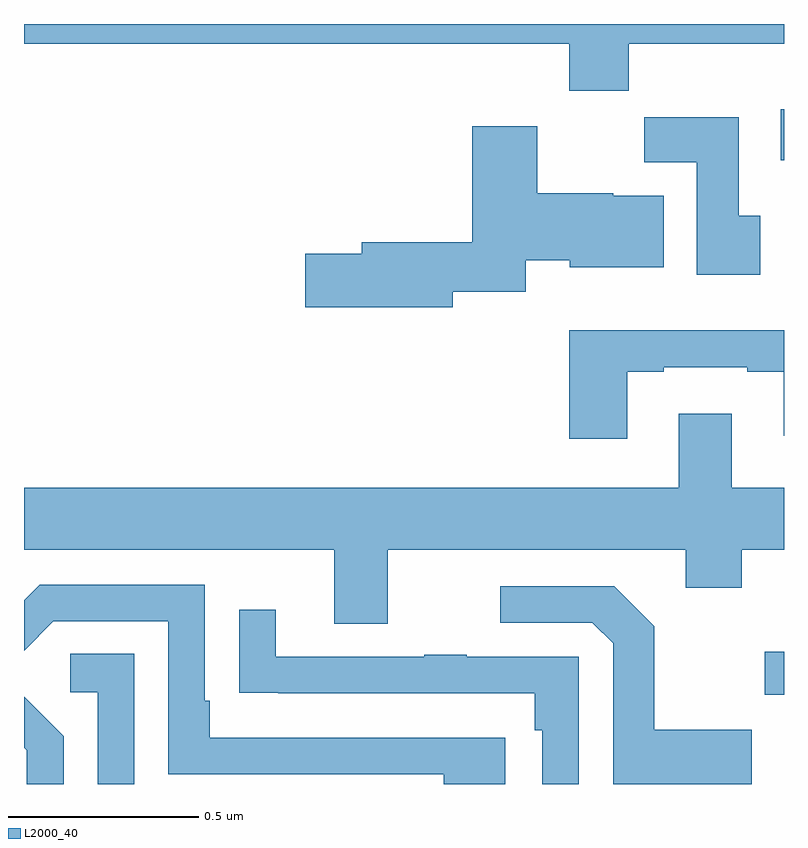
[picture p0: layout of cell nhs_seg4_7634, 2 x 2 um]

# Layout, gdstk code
import gdstk
lib = gdstk.Library(unit=1e-6, precision=1e-09)
def R(c, l, rs):  # rectangles x0, y0, x1, y1
    for r in rs: c.add(gdstk.rectangle(r[:2], r[2:], *l))
def P(c, l, *ps):  # polygons
    for p in ps: c.add(gdstk.Polygon(p, *l))
L2000_40 = (2000, 40)

nhs_seg4_7634 = lib.new_cell('nhs_seg4_7634')
R(nhs_seg4_7634, L2000_40, [(206.949,767.135,207,767.248), (206.991,768.542,207,768.676)])
P(nhs_seg4_7634, L2000_40, [(206.591,768.848),(207,768.848),(207,768.9),(205,768.9),(205,768.848),(206.435,768.848),(206.435,768.724),(206.591,768.724)],
  [(206.938,768.396),(206.881,768.396),(206.881,768.655),(206.632,768.655),(206.632,768.536),(206.771,768.536),(206.771,768.24),(206.938,768.24)],
  [(206.128,768.196),(206.32,768.196),(206.32,768.278),(206.436,768.278),(206.436,768.26),(206.683,768.26),(206.683,768.448),(206.55,768.448),(206.55,768.454),(206.35,768.454),(206.35,768.631),(206.18,768.631),(206.18,768.326),(205.889,768.326),(205.889,768.296),(205.74,768.296),(205.74,768.154),(206.128,768.154)],
  [(206.587,767.985),(206.683,767.985),(206.683,767.997),(206.903,767.997),(206.903,767.985),(206.999,767.985),(206.999,767.816),(207,767.816),(207,768.094),(206.435,768.094),(206.435,767.808),(206.587,767.808)],
  [(205.957,767.516),(206.741,767.516),(206.741,767.417),(206.889,767.417),(206.889,767.516),(207,767.516),(207,767.68),(206.863,767.68),(206.863,767.875),(206.723,767.875),(206.723,767.68),(205,767.68),(205,767.516),(205.817,767.516),(205.817,767.322),(205.957,767.322)],
  [(206.266,767.022),(205.489,767.022),(205.489,767.119),(205.476,767.119),(205.476,767.424),(205.041,767.424),(205,767.383),(205,767.251),(205.077,767.328),(205.38,767.328),(205.38,766.926),(206.105,766.926),(206.105,766.9),(206.266,766.9)],
  [(206.915,767.043),(206.659,767.043),(206.659,767.315),(206.553,767.421),(206.253,767.421),(206.253,767.325),(206.496,767.325),(206.55,767.271),(206.55,766.9),(206.915,766.9)],
  [(206.46,767.235),(206.165,767.235),(206.165,767.24),(206.053,767.24),(206.053,767.235),(205.663,767.235),(205.663,767.359),(205.567,767.359),(205.567,767.14),(205.669,767.14),(205.669,767.139),(206.344,767.139),(206.344,767.042),(206.364,767.042),(206.364,766.9),(206.46,766.9)],
  [(205.29,767.243),(205.122,767.243),(205.122,767.142),(205.194,767.142),(205.194,766.9),(205.29,766.9)],
  [(205.104,767.026),(205,767.13),(205,766.996),(205.007,766.989),(205.007,766.9),(205.104,766.9)])

lib.write_gds('nhs_seg4_7634.gds')
